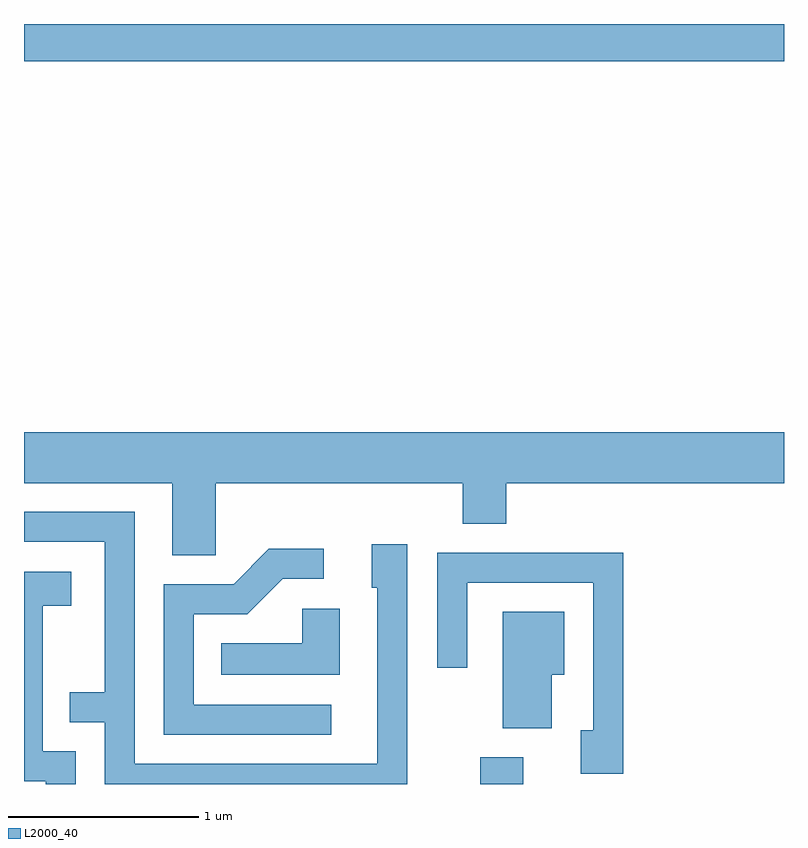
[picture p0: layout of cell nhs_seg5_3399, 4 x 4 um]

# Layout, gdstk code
import gdstk
lib = gdstk.Library(unit=1e-6, precision=1e-09)
def R(c, l, rs):  # rectangles x0, y0, x1, y1
    for r in rs: c.add(gdstk.rectangle(r[:2], r[2:], *l))
def P(c, l, *ps):  # polygons
    for p in ps: c.add(gdstk.Polygon(p, *l))
L2000_40 = (2000, 40)

nhs_seg5_3399 = lib.new_cell('nhs_seg5_3399')
R(nhs_seg5_3399, L2000_40, [(288.011,1484.072,288.239,1484.214), (285.611,1487.876,289.611,1488.072)])
P(nhs_seg5_3399, L2000_40, [(286.619,1485.656),(287.921,1485.656),(287.921,1485.441),(288.149,1485.441),(288.149,1485.656),(289.611,1485.656),(289.611,1485.924),(285.611,1485.924),(285.611,1485.656),(286.391,1485.656),(286.391,1485.276),(286.619,1485.276)],
  [(287.629,1485.334),(287.441,1485.334),(287.441,1485.106),(287.471,1485.106),(287.471,1484.179),(286.194,1484.179),(286.194,1485.504),(285.611,1485.504),(285.611,1485.346),(286.036,1485.346),(286.036,1484.554),(285.853,1484.554),(285.853,1484.396),(286.036,1484.396),(286.036,1484.072),(287.629,1484.072)],
  [(287.228,1484.489),(286.504,1484.489),(286.504,1484.966),(286.787,1484.966),(286.972,1485.151),(287.188,1485.151),(287.188,1485.309),(286.899,1485.309),(286.714,1485.124),(286.346,1485.124),(286.346,1484.331),(287.228,1484.331)],
  [(288.764,1485.289),(287.786,1485.289),(287.786,1484.683),(287.944,1484.683),(287.944,1485.131),(288.606,1485.131),(288.606,1484.354),(288.541,1484.354),(288.541,1484.126),(288.764,1484.126)],
  [(285.884,1484.244),(285.709,1484.244),(285.709,1485.011),(285.859,1485.011),(285.859,1485.189),(285.611,1485.189),(285.611,1484.086),(285.726,1484.086),(285.726,1484.072),(285.884,1484.072)],
  [(287.274,1484.994),(287.076,1484.994),(287.076,1484.814),(286.648,1484.814),(286.648,1484.646),(287.274,1484.646)],
  [(288.389,1484.646),(288.454,1484.646),(288.454,1484.979),(288.131,1484.979),(288.131,1484.366),(288.389,1484.366)])

lib.write_gds('nhs_seg5_3399.gds')
